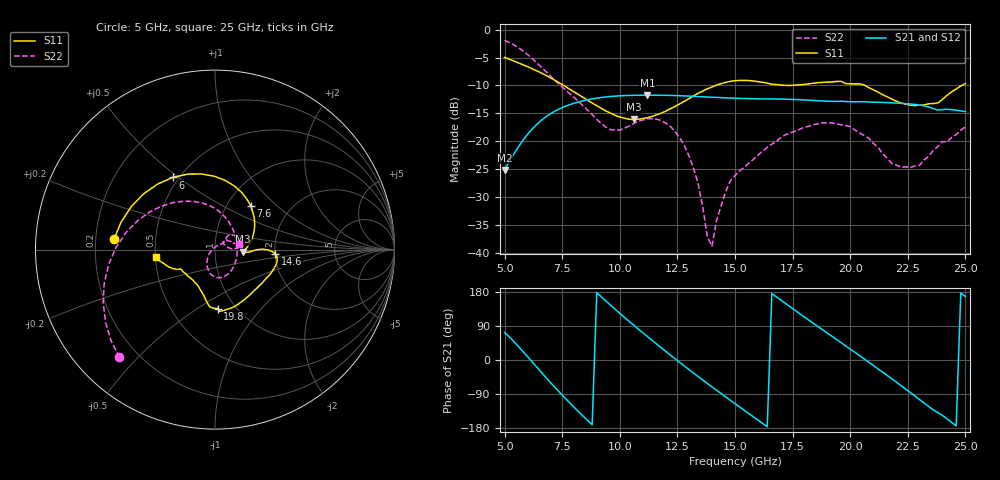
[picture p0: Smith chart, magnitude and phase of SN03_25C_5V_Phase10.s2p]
!File name = SN03_25C_5V_Phase10.s2p
!Date = 2/3/2014
!Time = 2:34 PM
!Test duration(min) = 0.07
!Test = SPars
!MPTS version = 7.120.8
!Comments =
!set_LD1(binary) = 10
!set_LD2(binary) = 524277
!test = SPars
!date_code = 20140203
!file_name = SN03_25C_5V_Phase10.s2p
!VREF(V) = 5.000
!VREF(mA) = 0.002
# GHz  S  DB  R  50
!%	Freq(GHz)  S11(dB)  S11(deg)  S21(dB)  S21(deg)  S12(dB)  S12(deg)  S22(dB)  S22(deg)
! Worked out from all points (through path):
!   101 points, 5 GHz to 25 GHz, reference 50 ohm
!   highest |S21| = -11.74 dB at 11.2 GHz (marker M1); lowest = -25.2 dB at 5 GHz (marker M2)
!   lowest |S11| = -16.1 dB at 10.6 GHz (marker M3), VSWR 1.37, Z = 68.5 - j1.7 ohm
!   |S11| at or under -10 dB: 7.57 GHz to 14.16 GHz (6.593 GHz wide, 60.7 % of centre); 20.64 GHz to 24.85 GHz (4.201 GHz wide, 18.5 % of centre)
!   |S22| runs from -38.9 to -1.9 dB; largest |S21 - S12| = 0.0006
!   S11 on the Smith chart (normalised r, x): 5 GHz: 0.28, +0.05; 6 GHz: 0.46, +0.48; 7.6 GHz: 1.29, +0.69; 14.6 GHz: 2.01, -0.11; 19.8 GHz: 0.83, -0.61; 25 GHz: 0.51, -0.05
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5  -4.94 174.2  -25.18 73.0  -25.20 73.0  -1.91 -131.5
6  -6.63 120.5  -18.74 8.6  -18.75 8.6  -4.45 -171.9
6.8  -8.20 81.3  -15.60 -46.6  -15.62 -46.5  -7.53 150.0
7.6  -10.07 50.2  -13.79 -99.0  -13.81 -98.9  -10.64 113.9
8.4  -12.12 27.5  -12.75 -147.7  -12.77 -147.6  -13.61 81.5
9.6  -14.97 3.6  -11.97 144.6  -11.98 144.6  -17.92 15.0
10.6  -16.10 -4.4  -11.77 92.0  -11.78 92.0  -16.84 -46.8
11.2  -15.78 -5.6  -11.74 61.8  -11.76 61.9  -16.00 -70.8
11.8  -14.97 -4.7  -11.76 32.3  -11.77 32.3  -16.29 -90.0
13  -12.37 0.1  -11.91 -25.2  -11.92 -25.2  -22.62 -126.4
13.4  -11.41 0.5  -11.99 -43.7  -12.00 -43.7  -27.63 -142.5
13.8  -10.59 -0.3  -12.07 -61.9  -12.08 -61.9  -37.12 173.1
14  -10.26 -1.1  -12.11 -70.9  -12.12 -70.9  -38.86 106.8
14.2  -9.94 -1.9  -12.14 -79.8  -12.16 -79.8  -34.24 72.8
14.6  -9.44 -4.3  -12.22 -97.6  -12.23 -97.6  -29.02 48.2
15  -9.15 -7.3  -12.29 -115.2  -12.30 -115.2  -26.18 40.6
16.6  -9.75 -30.4  -12.41 175.3  -12.43 175.3  -20.52 46.6
18.4  -9.59 -67.7  -12.69 96.8  -12.70 96.9  -17.02 31.7
19.8  -9.66 -87.2  -12.88 37.2  -12.88 37.2  -17.21 10.0
21.8  -12.41 -109.6  -13.11 -49.4  -13.11 -49.5  -24.00 17.4
23  -13.52 -135.4  -13.50 -103.9  -13.51 -103.9  -24.39 44.0
25  -9.66 -172.9  -14.71 167.6  -14.72 167.6  -17.42 12.9
